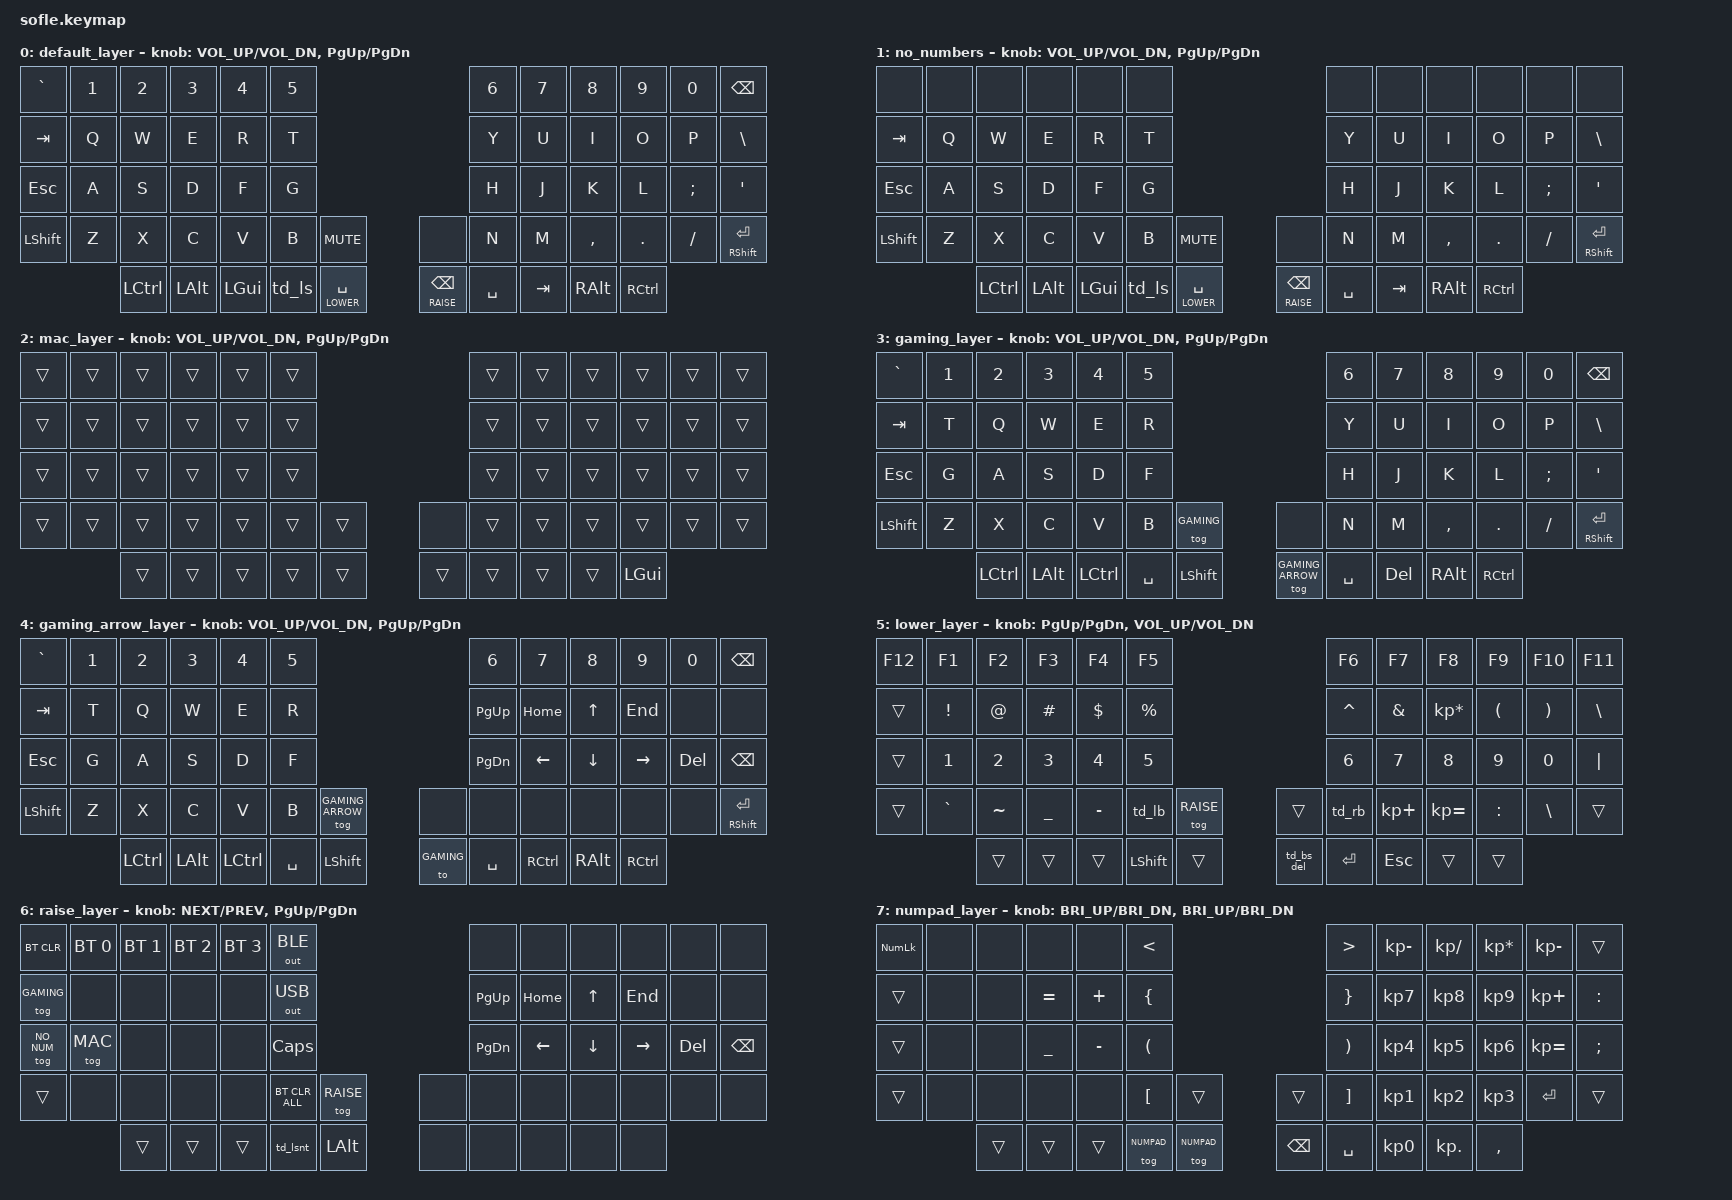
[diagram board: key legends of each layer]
/*
 * Copyright (c) 2020 The ZMK Contributors
 *
 * SPDX-License-Identifier: MIT
 */

#include <behaviors.dtsi>
#include <dt-bindings/zmk/keys.h>
#include <dt-bindings/zmk/bt.h>
#include <dt-bindings/zmk/outputs.h>

#define DEFAULT 0
#define NO_NUM  1
#define MAC     2
#define GAMING  3
#define GAMING_ARROW  4
#define LOWER   5
#define RAISE   6
#define NUMPAD  7

&mt {  // mod-tap config
    flavor = "balanced";
    tapping-term-ms = <150>;
    quick-tap-ms = <150>;
};

&lt {  // layer-tap config
    flavor = "balanced";
    tapping-term-ms = <150>;
    quick-tap-ms = <150>;
};

/ {
    behaviors {
        td_ls: tap_dance_left_shift {
            compatible = "zmk,behavior-tap-dance";
            label = "TAP_DANCE_LEFT_SHIFT";
            #binding-cells = <0>;
            tapping-term-ms = <200>;
            bindings = <&kp LSHFT>, <&mo NUMPAD>;
        };

        td_lsnt: tap_dance_left_shift_num_toggle {
            compatible = "zmk,behavior-tap-dance";
            label = "TAP_DANCE_LEFT_SHIFT_NUM_TOGGLE";
            #binding-cells = <0>;
            tapping-term-ms = <200>;
            bindings = <&kp LSHFT>, <&tog NUMPAD>;
        };

        td_lb: tap_dance_left_brackets{
            compatible = "zmk,behavior-tap-dance";
            label = "TAP_DANCE_LEFT_BRACKETS";
            #binding-cells = <0>;
            tapping-term-ms = <200>;
            bindings = <&kp LPAR>, <&kp LBRC>, <&kp LBKT>;
        };
    
        td_rb: tap_dance_right_brackets{
            compatible = "zmk,behavior-tap-dance";
            label = "TAP_DANCE_RIGHT_BRACKETS";
            #binding-cells = <0>;
            tapping-term-ms = <200>;
            bindings = <&kp RPAR>, <&kp RBRC>, <&kp RBKT>;
        };

        td_bs_del: tap_dance_backspace_delete{
            compatible = "zmk,behavior-tap-dance";
            label = "TAP_DANCE_BACKSPACE_DELETE";
            #binding-cells = <0>;
            tapping-term-ms = <200>;
            bindings = <&kp BSPC>, <&kp DEL>;
        };
    };
    
    keymap {
        compatible = "zmk,keymap";

        default_layer {
// ------------------------------------------------------------------------------------------------------------------------
// |  `    |  1  |  2  |  3   |  4   |  5      |                    |    6       |  7    |  8    |  9   |   0   | BKSPC    |
// |  TAB  |  Q  |  W  |  E   |  R   |  T      |                    |    Y       |  U    |  I    |  O   |   P   |   \      |
// |  ESC  |  A  |  S  |  D   |  F   |  G      |                    |    H       |  J    |  K    |  L   |   ;   |   '      |
// | SHIFT |  Z  |  X  |  C   |  V   |  B      |  MUTE  |  |        |    N       |  M    |  ,    |  .   |   /   | SHFT ENT |
//               | CTRL| ALT  | GUI  |SHFT NUM | LWR SPC|  |RSE BSPC|   SPACE    |  TAB  | ALT   | CTRL |
            bindings = <
&kp GRAVE &kp N1 &kp N2     &kp N3   &kp N4    &kp N5                             	        &kp N6           &kp N7      &kp N8    &kp N9    &kp N0   &kp BSPC
&kp TAB   &kp Q  &kp W      &kp E    &kp R     &kp T                              	        &kp Y            &kp U       &kp I     &kp O     &kp P    &kp BSLH
&kp ESC   &kp A  &kp S      &kp D    &kp F     &kp G                              	        &kp H            &kp J       &kp K     &kp L     &kp SEMI &kp SQT
&kp LSHFT &kp Z  &kp X      &kp C    &kp V     &kp B    &kp C_MUTE          &none   	    &kp N            &kp M       &kp COMMA &kp DOT   &kp FSLH &mt RSHFT RET
                 &kp LCTRL  &kp LALT &kp LGUI  &td_ls   &lt LOWER SPACE     &lt RAISE BSPC  &kp SPACE        &kp TAB     &kp RALT  &kp RCTRL
            >;
           
            sensor-bindings = <&inc_dec_kp C_VOL_UP C_VOL_DN &inc_dec_kp PG_UP PG_DN>;

        };


        no_numbers {
// ------------------------------------------------------------------------------------------------------------------------
// |       |     |     |      |      |         |                    |            |       |       |      |       |          |
// |  TAB  |  Q  |  W  |  E   |  R   |  T      |                    |    Y       |  U    |  I    |  O   |   P   |   \      |
// |  ESC  |  A  |  S  |  D   |  F   |  G      |                    |    H       |  J    |  K    |  L   |   ;   |   '      |
// | SHIFT |  Z  |  X  |  C   |  V   |  B      |  MUTE  |  |        |    N       |  M    |  ,    |  .   |   /   | SHFT ENT |
//               | CTRL| ALT  | GUI  |SHFT NUM | LWR SPC|  |RSE BSPC|   SPACE    |  TAB  | ALT   | CTRL |
            bindings = <
&none     &none  &none      &none    &none     &none                              	        &none            &none       &none     &none     &none    &none
&kp TAB   &kp Q  &kp W      &kp E    &kp R     &kp T                              	        &kp Y            &kp U       &kp I     &kp O     &kp P    &kp BSLH
&kp ESC   &kp A  &kp S      &kp D    &kp F     &kp G                              	        &kp H            &kp J       &kp K     &kp L     &kp SEMI &kp SQT
&kp LSHFT &kp Z  &kp X      &kp C    &kp V     &kp B    &kp C_MUTE          &none   	    &kp N            &kp M       &kp COMMA &kp DOT   &kp FSLH &mt RSHFT RET
                 &kp LCTRL  &kp LALT &kp LGUI  &td_ls   &lt LOWER SPACE     &lt RAISE BSPC  &kp SPACE        &kp TAB     &kp RALT  &kp RCTRL
            >;
           
            sensor-bindings = <&inc_dec_kp C_VOL_UP C_VOL_DN &inc_dec_kp PG_UP PG_DN>;

        };
 

        mac_layer {
// ------------------------------------------------------------------------------------------------------------------------
// |       |     |     |      |      |         |                    |            |       |       |      |       |          |
// |       |     |     |      |      |         |                    |            |       |       |      |       |          |
// |       |     |     |      |      |         |                    |            |       |       |      |       |          |
// |       |     |     |      |      |         |        |  |        |            |       |       |      |       |          |
//               |     |      |      |         |           |        |            |       |       |      |
            bindings = <
&trans    &trans  &trans    &trans   &trans    &trans                             	        &trans           &trans      &trans    &trans    &trans   &trans   
&trans    &trans  &trans    &trans   &trans    &trans                             	        &trans           &trans      &trans    &trans    &trans   &trans   
&trans    &trans  &trans    &trans   &trans    &trans                             	        &trans           &trans      &trans    &trans    &trans   &trans   
&trans    &trans  &trans    &trans   &trans    &trans   &trans              &none   	    &trans           &trans      &trans    &trans    &trans   &trans    
                  &trans    &trans   &trans    &trans   &trans              &trans          &trans           &trans      &trans    &kp LGUI
            >;
           
            sensor-bindings = <&inc_dec_kp C_VOL_UP C_VOL_DN &inc_dec_kp PG_UP PG_DN>;

        };

       gaming_layer {
//------------------------------------------------------------------------------------------------------------------------
// |  `    |  1  |  2  |  3   |  4   |  5      |                    |    6       |  7    |  8    |  9   |   0   | BKSPC    |
// |  TAB  |  T  |  Q  |  W   |  E   |  R      |                    |    Y       |  U    |  I    |  O   |   P   |   \      |
// |  ESC  |  G  |  A  |  S   |  D   |  F      |                    |    H       |  J    |  K    |  L   |   ;   |   '      |
// | SHIFT |  Z  |  X  |  C   |  V   |  B      |TURN OFF|  |        |    N       |  M    |  ,    |  .   |   /   | SHFT ENT |
//               | CTRL| ALT  | CRTL | SPACE   | SHIFT  |  | ARROWS |   SPACE    |  DEL  | ALT   | CTRL |
            bindings = <
&kp GRAVE &kp N1 &kp N2     &kp N3   &kp N4    &kp N5                             	        &kp N6           &kp N7      &kp N8    &kp N9    &kp N0   &kp BSPC
&kp TAB   &kp T  &kp Q      &kp W    &kp E     &kp R                              	        &kp Y            &kp U       &kp I     &kp O     &kp P    &kp BSLH
&kp ESC   &kp G  &kp A      &kp S    &kp D     &kp F                              	        &kp H            &kp J       &kp K     &kp L     &kp SEMI &kp SQT
&kp LSHFT &kp Z  &kp X      &kp C    &kp V     &kp B     &tog GAMING         &none   	    &kp N            &kp M       &kp COMMA &kp DOT   &kp FSLH &mt RSHFT RET
                 &kp LCTRL  &kp LALT &kp LCTRL &kp SPACE &kp LSHFT           &tog GAMING_ARROW &kp SPACE        &kp DEL     &kp RALT  &kp RCTRL
            >;
           
            sensor-bindings = <&inc_dec_kp C_VOL_UP C_VOL_DN &inc_dec_kp PG_UP PG_DN>;
        };        

        gaming_arrow_layer {
//------------------------------------------------------------------------------------------------------------------------
// |  `    |  1  |  2  |  3   |  4   |  5      |                    |    6 |  7   |  8   |  9    |   0  | BKSPC |
// |  TAB  |  T  |  Q  |  W   |  E   |  R      |                    | PGUP | HOME |   ^  | END   |      |       |
// |  ESC  |  G  |  A  |  S   |  D   |  F      |                    | PGDN |   <- |   v  |  ->   |      |       |
// | SHIFT |  Z  |  X  |  C   |  V   |  B      |TURN OFF|  |        |      |      |      |       |      |SHFT ENT
//               | CTRL| ALT  | CRTL | SPACE   | SHIFT  |  |LETTERS |SPACE | CTRL | ALT  | CTRL |
            bindings = <
&kp GRAVE &kp N1 &kp N2     &kp N3   &kp N4    &kp N5                             	        &kp N6     &kp N7      &kp N8   &kp N9    &kp N0   &kp BSPC
&kp TAB   &kp T  &kp Q      &kp W    &kp E     &kp R                              	        &kp PG_UP  &kp HOME    &kp UP   &kp END   &none    &none
&kp ESC   &kp G  &kp A      &kp S    &kp D     &kp F                              	        &kp PG_DN  &kp LEFT    &kp DOWN &kp RIGHT &kp DEL  &kp BSPC
&kp LSHFT &kp Z  &kp X      &kp C    &kp V     &kp B     &tog GAMING_ARROW   &none   	    &none      &none       &none    &none     &none    &mt RSHFT RET
                 &kp LCTRL  &kp LALT &kp LCTRL &kp SPACE &kp LSHFT           &to GAMING     &kp SPACE  &kp RCTRL     &kp RALT  &kp RCTRL
            >;
           
            sensor-bindings = <&inc_dec_kp C_VOL_UP C_VOL_DN &inc_dec_kp PG_UP PG_DN>;
        };        
       lower_layer {
// TODO: Some binds are waiting for shifted keycode support.
// ---------------------------------------------------------------------------------------------------------------
// |  F12  |  F1 |  F2 |  F3  |  F4  |  F5  |                    |  F6  |  F7   |  F8   |  F9  |  F10  |  F11     |
// |  TAB  |  !  |  @  |  #   |  $   |  %   |                    |  ^   |  &    |  *    |  (   |   )   |   \      |
// |  ESC  |  1  |  2  |  3   |  4   |  5   |                    |  6   |   7   |   8   |   9  |    0  |   |      |
// | SHIFT |  `  |  ~  |  _   |   -  |  {([ |RAISE TOG|  |       |  })] |   +   |   =   |  :   |   \   | SHFT ENT | 
//               |CTRL | ALT  | GUI  | SHFT |         |  |BSPC DL|ENTER |  ESC  |  ALT  | CTRL |
            bindings = <
&kp F12  &kp F1    &kp F2    &kp F3      &kp F4    &kp F5                       &kp F6    &kp F7        &kp F8          &kp F9    &kp F10   &kp F11
&trans   &kp EXCL  &kp AT    &kp HASH    &kp DLLR  &kp PRCNT                    &kp CARET &kp AMPS      &kp KP_MULTIPLY &kp LPAR  &kp RPAR  &kp BSLH
&trans   &kp N1    &kp N2    &kp N3      &kp N4    &kp N5                       &kp N6    &kp N7        &kp N8          &kp N9    &kp N0    &kp PIPE
&trans   &kp GRAVE &kp TILDE &kp UNDER   &kp MINUS &td_lb    &tog RAISE    &trans    &td_rb    &kp KP_PLUS   &kp KP_EQUAL    &kp COLON &kp BSLH  &trans
                   &trans    &trans      &trans    &kp LSHFT &trans   &td_bs_del &kp RET   &kp ESC       &trans          &trans
            >;

            sensor-bindings = <&inc_dec_kp PG_UP PG_DN &inc_dec_kp C_VOL_UP C_VOL_DN >;
        };

        raise_layer {
// ------------------------------------------------------------------------------------------------------------
// |BTCLR |  BT1  | BT2  |  BT3  |  BT4  | USE BT  |                    |      |      |       |      |       |       |
// |GAMING|       |      |       |       | USE USB |                    | PGUP | HOME |   ^   | END  |       |       |
// |NO_NUM| MAC   |      |       |       | CAPS LK |                    | PGDN |   <- |   v   |  ->  |  DEL  | BKSPC |
// | SHFT |       |      |       |       |BTCLR ALL|RAISE TOG |  |      |      |      |       |      |       |       |
//                | CTRL | ALT   | GUI   |SHFT NUM |  ALT     |  |      |      |      |       |      |
            bindings = <
&bt BT_CLR  &bt BT_SEL 0    &bt BT_SEL 1    &bt BT_SEL 2    &bt BT_SEL 3    &out OUT_BLE                       &none      &none       &none    &none     &none    &none 
&tog GAMING &none           &none           &none           &none           &out OUT_USB                       &kp PG_UP  &kp HOME    &kp UP   &kp END   &none    &none 
&tog NO_NUM &tog MAC        &none           &none           &none           &kp CAPSLOCK                       &kp PG_DN  &kp LEFT    &kp DOWN &kp RIGHT &kp DEL  &kp BSPC
&trans      &none           &none           &none           &none           &bt BT_CLR_ALL &tog RAISE  &none   &none      &none       &none    &none     &none    &none   
                            &trans          &trans          &trans          &td_lsnt       &kp LALT    &none   &none      &none       &none    &none 
            >;

            sensor-bindings = <&inc_dec_kp C_NEXT C_PREV &inc_dec_kp PG_UP PG_DN>;
        };
        
        numpad_layer {
// ------------------------------------------------------------------------------------------------------------
// |NUMLOCK|     |     |      |      |   <    |                    |  >   |  -    |   /   |   *  |   -   | BSPC     |
// | TAB   |     |     |  =   |   +  |   {    |                    |  }   |  7    |   8   |   9  |   +   |   :      |
// | ESC   |     |     |  _   |   -  |   (    |                    |  )   |  4    |   5   |   6  |   =   |   ;      |
// | SHFT  |     |     |      |      |   [    |        |  |        |  ]   |  1    |   2   |   3  | ENTER | SHFT ENT |
//               |     |      |      |TURN OFF|TURN OFF|  | BSPC   | SPCE |  0    |   .   |   ,  |
            bindings = <
&kp KP_NUM &none    &none    &none     &none     &kp LT                             &kp GT       &kp KP_MINUS   &kp KP_SLASH    &kp KP_MULTIPLY  &kp KP_MINUS  &trans 
&trans     &none    &none    &kp EQUAL &kp PLUS  &kp LBRC                           &kp RBRC     &kp KP_N7      &kp KP_N8       &kp KP_N9        &kp KP_PLUS   &kp COLON
&trans     &none    &none    &kp UNDER &kp MINUS &kp LPAR                           &kp RPAR     &kp KP_N4      &kp KP_N5       &kp KP_N6        &kp KP_EQUAL  &kp SEMI
&trans     &none    &none    &none     &none     &kp LBKT    &trans        &trans   &kp RBKT     &kp KP_N1      &kp KP_N2       &kp KP_N3        &kp RET       &trans 
                    &trans   &trans    &trans    &tog NUMPAD &tog NUMPAD   &kp BSPC &kp SPACE    &kp KP_N0      &kp KP_DOT      &kp COMMA
            >;

            sensor-bindings = <&inc_dec_kp C_BRI_UP C_BRI_DN &inc_dec_kp C_BRI_UP C_BRI_DN>;
        };


    };
};
